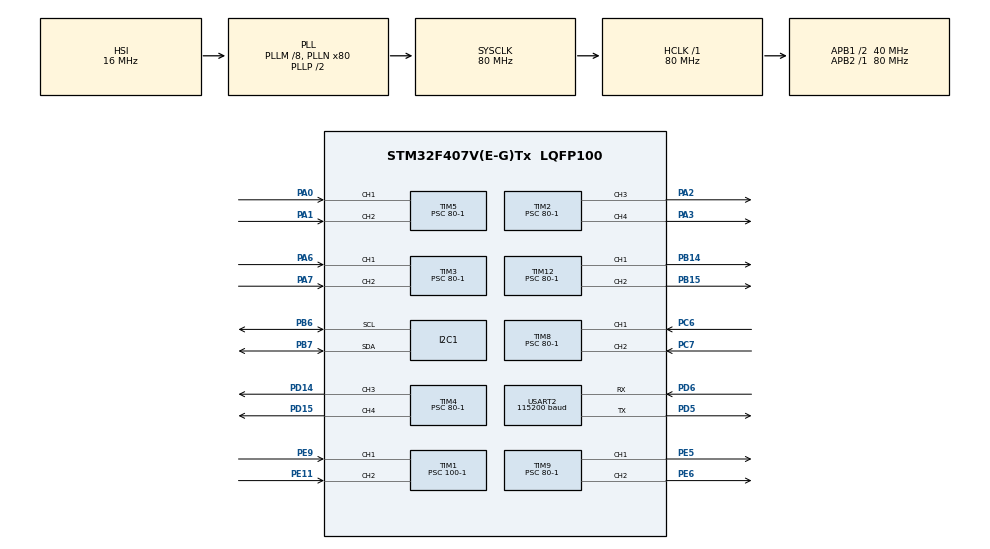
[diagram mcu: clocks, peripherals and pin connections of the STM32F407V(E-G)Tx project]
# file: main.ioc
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Mcu.Family=STM32F4
Mcu.Name=STM32F407V(E-G)Tx
Mcu.Package=LQFP100
NVIC.PriorityGroup=NVIC_PRIORITYGROUP_4
PA0-WKUP.Signal=S_TIM5_CH1
PA1.Signal=S_TIM5_CH2
PA2.Signal=S_TIM2_CH3
PA3.Signal=S_TIM2_CH4
PA6.Signal=S_TIM3_CH1
PA7.Signal=S_TIM3_CH2
PB14.GPIO_PuPd=GPIO_PULLUP
PB14.Signal=S_TIM12_CH1
PB15.GPIO_PuPd=GPIO_PULLUP
PB15.Signal=S_TIM12_CH2
PB6.Mode=I2C
PB6.Signal=I2C1_SCL
PB7.Mode=I2C
PB7.Signal=I2C1_SDA
PC6.Signal=S_TIM8_CH1
PC7.Signal=S_TIM8_CH2
PD14.Signal=S_TIM4_CH3
PD15.Signal=S_TIM4_CH4
PD5.Mode=Asynchronous
PD5.Signal=USART2_TX
PD6.Mode=Asynchronous
PD6.Signal=USART2_RX
PE11.GPIO_PuPd=GPIO_PULLUP
PE11.Signal=S_TIM1_CH2
PE5.Signal=S_TIM9_CH1
PE6.Signal=S_TIM9_CH2
PE9.GPIO_PuPd=GPIO_PULLUP
PE9.Signal=S_TIM1_CH1
ProjectManager.HeapSize=0x200
ProjectManager.StackSize=0x400
ProjectManager.TargetToolchain=STM32CubeIDE
RCC.48MHZClocksFreq_Value=40000000
RCC.AHBFreq_Value=80000000
RCC.APB1CLKDivider=RCC_HCLK_DIV2
RCC.APB1Freq_Value=40000000
RCC.APB1TimFreq_Value=80000000
RCC.APB2Freq_Value=80000000
RCC.APB2TimFreq_Value=80000000
RCC.CortexFreq_Value=80000000
RCC.HCLKFreq_Value=80000000
RCC.HSE_VALUE=25000000
RCC.HSI_VALUE=16000000
RCC.LSE_VALUE=32768
RCC.PLLM=8
RCC.PLLN=80
RCC.SYSCLKFreq_VALUE=80000000
RCC.SYSCLKSource=RCC_SYSCLKSOURCE_PLLCLK
RCC.VCOOutputFreq_Value=160000000
SH.S_TIM12_CH1.0=TIM12_CH1,PWM Generation1 CH1
SH.S_TIM12_CH2.0=TIM12_CH2,PWM Generation2 CH2
SH.S_TIM1_CH1.0=TIM1_CH1,Encoder_Interface
SH.S_TIM1_CH2.0=TIM1_CH2,Encoder_Interface
SH.S_TIM2_CH3.0=TIM2_CH3,PWM Generation3 CH3
SH.S_TIM2_CH4.0=TIM2_CH4,PWM Generation4 CH4
SH.S_TIM3_CH1.0=TIM3_CH1,Encoder_Interface
SH.S_TIM3_CH2.0=TIM3_CH2,Encoder_Interface
SH.S_TIM4_CH3.0=TIM4_CH3,PWM Generation3 CH3
SH.S_TIM4_CH4.0=TIM4_CH4,PWM Generation4 CH4
SH.S_TIM5_CH1.0=TIM5_CH1,Encoder_Interface
SH.S_TIM5_CH2.0=TIM5_CH2,Encoder_Interface
SH.S_TIM8_CH1.0=TIM8_CH1,Encoder_Interface
SH.S_TIM8_CH2.0=TIM8_CH2,Encoder_Interface
SH.S_TIM9_CH1.0=TIM9_CH1,PWM Generation1 CH1
SH.S_TIM9_CH2.0=TIM9_CH2,PWM Generation2 CH2
TIM1.EncoderMode=TIM_ENCODERMODE_TI12
TIM1.Prescaler=100-1
TIM12.Channel-PWM\ Generation1\ CH1=TIM_CHANNEL_1
TIM12.Channel-PWM\ Generation2\ CH2=TIM_CHANNEL_2
TIM12.Period=1000-1
TIM12.Prescaler=80-1
TIM2.Channel-PWM\ Generation3\ CH3=TIM_CHANNEL_3
TIM2.Channel-PWM\ Generation4\ CH4=TIM_CHANNEL_4
TIM2.Period=1000-1
TIM2.Prescaler=80-1
TIM3.EncoderMode=TIM_ENCODERMODE_TI12
TIM3.Prescaler=80-1
TIM4.Channel-PWM\ Generation3\ CH3=TIM_CHANNEL_3
TIM4.Channel-PWM\ Generation4\ CH4=TIM_CHANNEL_4
TIM4.Period=1000-1
TIM4.Prescaler=80-1
TIM5.EncoderMode=TIM_ENCODERMODE_TI12
TIM5.Period=65535
TIM5.Prescaler=80-1
TIM8.EncoderMode=TIM_ENCODERMODE_TI12
TIM8.Prescaler=80-1
TIM9.Channel-PWM\ Generation1\ CH1=TIM_CHANNEL_1
TIM9.Channel-PWM\ Generation2\ CH2=TIM_CHANNEL_2
TIM9.Period=1000-1
TIM9.Prescaler=80-1
USART2.BaudRate=115200
USART2.VirtualMode=VM_ASYNC
VP_TIM12_VS_ClockSourceINT.Mode=Internal
VP_TIM2_VS_ClockSourceINT.Mode=Internal
VP_TIM4_VS_ClockSourceINT.Mode=Internal
VP_TIM9_VS_ClockSourceINT.Mode=Internal
board=custom

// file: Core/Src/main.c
/* USER CODE BEGIN Header */
/**
 ******************************************************************************
 * @file           : main.c
 * @brief          : Main program body
 ******************************************************************************
 * @attention
 *
 * Copyright (c) 2024 STMicroelectronics.
 * All rights reserved.
 *
 * This software is licensed under terms that can be found in the LICENSE file
 * in the root directory of this software component.
 * If no LICENSE file comes with this software, it is provided AS-IS.
 *
 ******************************************************************************
 */
/* USER CODE END Header */
#include "main.h"

/* USER CODE BEGIN Includes */
#include <lib_UART.h>
#include <lib_MOTOR.h>
#include <lib_COMMAND.h>
#include <lib_DATA.h>
//#include <lib_MPU6050.h>

/* USER CODE END Includes */

I2C_HandleTypeDef hi2c1;

TIM_HandleTypeDef htim1;
TIM_HandleTypeDef htim2;
TIM_HandleTypeDef htim3;
TIM_HandleTypeDef htim4;
TIM_HandleTypeDef htim5;
TIM_HandleTypeDef htim8;
TIM_HandleTypeDef htim9;
TIM_HandleTypeDef htim12;

UART_HandleTypeDef huart2;

/* USER CODE BEGIN PV */

uint8_t c = '0';

/* USER CODE END PV */

void SystemClock_Config(void);
static void MX_GPIO_Init(void);
static void MX_TIM1_Init(void);
static void MX_TIM2_Init(void);
static void MX_TIM3_Init(void);
static void MX_TIM5_Init(void);
static void MX_TIM8_Init(void);
static void MX_TIM9_Init(void);
static void MX_TIM12_Init(void);
static void MX_TIM4_Init(void);
static void MX_USART2_UART_Init(void);
static void MX_I2C1_Init(void);

/* USER CODE BEGIN 0 */
char receivedString[100];

/* USER CODE END 0 */

int main(void) {

	/* MCU Configuration--------------------------------------------------------*/

	/* Reset of all peripherals, Initializes the Flash interface and the Systick. */
HAL_Init();

	/* Configure the system clock */
	SystemClock_Config();

	/* Initialize all configured peripherals */
	MX_GPIO_Init();
	MX_TIM1_Init();
	MX_TIM2_Init();
	MX_TIM3_Init();
	MX_TIM5_Init();
	MX_TIM8_Init();
	MX_TIM9_Init();
	MX_TIM12_Init();
	MX_TIM4_Init();
	MX_USART2_UART_Init();
	MX_I2C1_Init();
	/* USER CODE BEGIN 2 */
	Encoder_Init();  // Khởi động encoder
	Motor_Init();    // Khởi động Motor
	Reset_Encoder1();
	Reset_Encoder2();
	Reset_Encoder3();
	Reset_Encoder4();
	// Initialize BNO055

	BNO055_Init(&hi2c1);
	/* USER CODE END 2 */

	/* Infinite loop */
	while (1) {
	//	readEncoder();
		//standardMode(1);
		//HAL_Delay(500);
		motor();
	}
}

void SystemClock_Config(void) {
	RCC_OscInitTypeDef RCC_OscInitStruct = { 0 };
	RCC_ClkInitTypeDef RCC_ClkInitStruct = { 0 };

	/** Configure the main internal regulator output voltage
	 */
	__HAL_RCC_PWR_CLK_ENABLE();
	__HAL_PWR_VOLTAGESCALING_CONFIG(PWR_REGULATOR_VOLTAGE_SCALE1);

	/** Initializes the RCC Oscillators according to the specified parameters
	 * in the RCC_OscInitTypeDef structure.
	 */
	RCC_OscInitStruct.OscillatorType = RCC_OSCILLATORTYPE_HSI;
	RCC_OscInitStruct.HSIState = RCC_HSI_ON;
	RCC_OscInitStruct.HSICalibrationValue = RCC_HSICALIBRATION_DEFAULT;
	RCC_OscInitStruct.PLL.PLLState = RCC_PLL_ON;
	RCC_OscInitStruct.PLL.PLLSource = RCC_PLLSOURCE_HSI;
	RCC_OscInitStruct.PLL.PLLM = 8;
	RCC_OscInitStruct.PLL.PLLN = 80;
	RCC_OscInitStruct.PLL.PLLP = RCC_PLLP_DIV2;
	RCC_OscInitStruct.PLL.PLLQ = 4;
	if (HAL_RCC_OscConfig(&RCC_OscInitStruct) != HAL_OK) {
		Error_Handler();
	}

	/** Initializes the CPU, AHB and APB buses clocks
	 */
	RCC_ClkInitStruct.ClockType = RCC_CLOCKTYPE_HCLK | RCC_CLOCKTYPE_SYSCLK
			| RCC_CLOCKTYPE_PCLK1 | RCC_CLOCKTYPE_PCLK2;
	RCC_ClkInitStruct.SYSCLKSource = RCC_SYSCLKSOURCE_PLLCLK;
	RCC_ClkInitStruct.AHBCLKDivider = RCC_SYSCLK_DIV1;
	RCC_ClkInitStruct.APB1CLKDivider = RCC_HCLK_DIV2;
	RCC_ClkInitStruct.APB2CLKDivider = RCC_HCLK_DIV1;

	if (HAL_RCC_ClockConfig(&RCC_ClkInitStruct, FLASH_LATENCY_2) != HAL_OK) {
		Error_Handler();
	}
}

static void MX_I2C1_Init(void) {

	hi2c1.Instance = I2C1;
	hi2c1.Init.ClockSpeed = 100000;
	hi2c1.Init.DutyCycle = I2C_DUTYCYCLE_2;
	hi2c1.Init.OwnAddress1 = 0;
	hi2c1.Init.AddressingMode = I2C_ADDRESSINGMODE_7BIT;
	hi2c1.Init.DualAddressMode = I2C_DUALADDRESS_DISABLE;
	hi2c1.Init.OwnAddress2 = 0;
	hi2c1.Init.GeneralCallMode = I2C_GENERALCALL_DISABLE;
	hi2c1.Init.NoStretchMode = I2C_NOSTRETCH_DISABLE;
	if (HAL_I2C_Init(&hi2c1) != HAL_OK) {
		Error_Handler();
	}

}

static void MX_TIM1_Init(void) {

	TIM_Encoder_InitTypeDef sConfig = { 0 };
	TIM_MasterConfigTypeDef sMasterConfig = { 0 };

	htim1.Instance = TIM1;
	htim1.Init.Prescaler = 100 - 1;
	htim1.Init.CounterMode = TIM_COUNTERMODE_UP;
	htim1.Init.Period = 65535;
	htim1.Init.ClockDivision = TIM_CLOCKDIVISION_DIV1;
	htim1.Init.RepetitionCounter = 0;
	htim1.Init.AutoReloadPreload = TIM_AUTORELOAD_PRELOAD_DISABLE;
	sConfig.EncoderMode = TIM_ENCODERMODE_TI12;
	sConfig.IC1Polarity = TIM_ICPOLARITY_RISING;
	sConfig.IC1Selection = TIM_ICSELECTION_DIRECTTI;
	sConfig.IC1Prescaler = TIM_ICPSC_DIV1;
	sConfig.IC1Filter = 0;
	sConfig.IC2Polarity = TIM_ICPOLARITY_RISING;
	sConfig.IC2Selection = TIM_ICSELECTION_DIRECTTI;
	sConfig.IC2Prescaler = TIM_ICPSC_DIV1;
	sConfig.IC2Filter = 0;
	if (HAL_TIM_Encoder_Init(&htim1, &sConfig) != HAL_OK) {
		Error_Handler();
	}
	sMasterConfig.MasterOutputTrigger = TIM_TRGO_RESET;
	sMasterConfig.MasterSlaveMode = TIM_MASTERSLAVEMODE_DISABLE;
	if (HAL_TIMEx_MasterConfigSynchronization(&htim1, &sMasterConfig)
			!= HAL_OK) {
		Error_Handler();
	}

}

static void MX_TIM2_Init(void) {

	TIM_ClockConfigTypeDef sClockSourceConfig = { 0 };
	TIM_MasterConfigTypeDef sMasterConfig = { 0 };
	TIM_OC_InitTypeDef sConfigOC = { 0 };

	htim2.Instance = TIM2;
	htim2.Init.Prescaler = 80 - 1;
	htim2.Init.CounterMode = TIM_COUNTERMODE_UP;
	htim2.Init.Period = 1000 - 1;
	htim2.Init.ClockDivision = TIM_CLOCKDIVISION_DIV1;
	htim2.Init.AutoReloadPreload = TIM_AUTORELOAD_PRELOAD_DISABLE;
	if (HAL_TIM_Base_Init(&htim2) != HAL_OK) {
		Error_Handler();
	}
	sClockSourceConfig.ClockSource = TIM_CLOCKSOURCE_INTERNAL;
	if (HAL_TIM_ConfigClockSource(&htim2, &sClockSourceConfig) != HAL_OK) {
		Error_Handler();
	}
	if (HAL_TIM_PWM_Init(&htim2) != HAL_OK) {
		Error_Handler();
	}
	sMasterConfig.MasterOutputTrigger = TIM_TRGO_RESET;
	sMasterConfig.MasterSlaveMode = TIM_MASTERSLAVEMODE_DISABLE;
	if (HAL_TIMEx_MasterConfigSynchronization(&htim2, &sMasterConfig)
			!= HAL_OK) {
		Error_Handler();
	}
	sConfigOC.OCMode = TIM_OCMODE_PWM1;
	sConfigOC.Pulse = 0;
	sConfigOC.OCPolarity = TIM_OCPOLARITY_HIGH;
	sConfigOC.OCFastMode = TIM_OCFAST_DISABLE;
	if (HAL_TIM_PWM_ConfigChannel(&htim2, &sConfigOC, TIM_CHANNEL_3)
			!= HAL_OK) {
		Error_Handler();
	}
	if (HAL_TIM_PWM_ConfigChannel(&htim2, &sConfigOC, TIM_CHANNEL_4)
			!= HAL_OK) {
		Error_Handler();
	}
	HAL_TIM_MspPostInit(&htim2);

}

static void MX_TIM3_Init(void) {

	TIM_Encoder_InitTypeDef sConfig = { 0 };
	TIM_MasterConfigTypeDef sMasterConfig = { 0 };

	htim3.Instance = TIM3;
	htim3.Init.Prescaler = 80 - 1;
	htim3.Init.CounterMode = TIM_COUNTERMODE_UP;
	htim3.Init.Period = 65535;
	htim3.Init.ClockDivision = TIM_CLOCKDIVISION_DIV1;
	htim3.Init.AutoReloadPreload = TIM_AUTORELOAD_PRELOAD_DISABLE;
	sConfig.EncoderMode = TIM_ENCODERMODE_TI12;
	sConfig.IC1Polarity = TIM_ICPOLARITY_RISING;
	sConfig.IC1Selection = TIM_ICSELECTION_DIRECTTI;
	sConfig.IC1Prescaler = TIM_ICPSC_DIV1;
	sConfig.IC1Filter = 0;
	sConfig.IC2Polarity = TIM_ICPOLARITY_RISING;
	sConfig.IC2Selection = TIM_ICSELECTION_DIRECTTI;
	sConfig.IC2Prescaler = TIM_ICPSC_DIV1;
	sConfig.IC2Filter = 0;
	if (HAL_TIM_Encoder_Init(&htim3, &sConfig) != HAL_OK) {
		Error_Handler();
	}
	sMasterConfig.MasterOutputTrigger = TIM_TRGO_RESET;
	sMasterConfig.MasterSlaveMode = TIM_MASTERSLAVEMODE_DISABLE;
	if (HAL_TIMEx_MasterConfigSynchronization(&htim3, &sMasterConfig)
			!= HAL_OK) {
		Error_Handler();
	}

}

static void MX_TIM4_Init(void) {

	TIM_ClockConfigTypeDef sClockSourceConfig = { 0 };
	TIM_MasterConfigTypeDef sMasterConfig = { 0 };
	TIM_OC_InitTypeDef sConfigOC = { 0 };

	htim4.Instance = TIM4;
	htim4.Init.Prescaler = 80 - 1;
	htim4.Init.CounterMode = TIM_COUNTERMODE_UP;
	htim4.Init.Period = 1000 - 1;
	htim4.Init.ClockDivision = TIM_CLOCKDIVISION_DIV1;
	htim4.Init.AutoReloadPreload = TIM_AUTORELOAD_PRELOAD_DISABLE;
	if (HAL_TIM_Base_Init(&htim4) != HAL_OK) {
		Error_Handler();
	}
	sClockSourceConfig.ClockSource = TIM_CLOCKSOURCE_INTERNAL;
	if (HAL_TIM_ConfigClockSource(&htim4, &sClockSourceConfig) != HAL_OK) {
		Error_Handler();
	}
	if (HAL_TIM_PWM_Init(&htim4) != HAL_OK) {
		Error_Handler();
	}
	sMasterConfig.MasterOutputTrigger = TIM_TRGO_RESET;
	sMasterConfig.MasterSlaveMode = TIM_MASTERSLAVEMODE_DISABLE;
	if (HAL_TIMEx_MasterConfigSynchronization(&htim4, &sMasterConfig)
			!= HAL_OK) {
		Error_Handler();
	}
	sConfigOC.OCMode = TIM_OCMODE_PWM1;
	sConfigOC.Pulse = 0;
	sConfigOC.OCPolarity = TIM_OCPOLARITY_HIGH;
	sConfigOC.OCFastMode = TIM_OCFAST_DISABLE;
	if (HAL_TIM_PWM_ConfigChannel(&htim4, &sConfigOC, TIM_CHANNEL_3)
			!= HAL_OK) {
		Error_Handler();
	}
	if (HAL_TIM_PWM_ConfigChannel(&htim4, &sConfigOC, TIM_CHANNEL_4)
			!= HAL_OK) {
		Error_Handler();
	}
	HAL_TIM_MspPostInit(&htim4);

}

static void MX_TIM5_Init(void) {

	TIM_Encoder_InitTypeDef sConfig = { 0 };
	TIM_MasterConfigTypeDef sMasterConfig = { 0 };

	htim5.Instance = TIM5;
	htim5.Init.Prescaler = 80 - 1;
	htim5.Init.CounterMode = TIM_COUNTERMODE_UP;
	htim5.Init.Period = 65535;
	htim5.Init.ClockDivision = TIM_CLOCKDIVISION_DIV1;
	htim5.Init.AutoReloadPreload = TIM_AUTORELOAD_PRELOAD_DISABLE;
	sConfig.EncoderMode = TIM_ENCODERMODE_TI12;
	sConfig.IC1Polarity = TIM_ICPOLARITY_RISING;
	sConfig.IC1Selection = TIM_ICSELECTION_DIRECTTI;
	sConfig.IC1Prescaler = TIM_ICPSC_DIV1;
	sConfig.IC1Filter = 0;
	sConfig.IC2Polarity = TIM_ICPOLARITY_RISING;
	sConfig.IC2Selection = TIM_ICSELECTION_DIRECTTI;
	sConfig.IC2Prescaler = TIM_ICPSC_DIV1;
	sConfig.IC2Filter = 0;
	if (HAL_TIM_Encoder_Init(&htim5, &sConfig) != HAL_OK) {
		Error_Handler();
	}
	sMasterConfig.MasterOutputTrigger = TIM_TRGO_RESET;
	sMasterConfig.MasterSlaveMode = TIM_MASTERSLAVEMODE_DISABLE;
	if (HAL_TIMEx_MasterConfigSynchronization(&htim5, &sMasterConfig)
			!= HAL_OK) {
		Error_Handler();
	}

}

static void MX_TIM8_Init(void) {

	TIM_Encoder_InitTypeDef sConfig = { 0 };
	TIM_MasterConfigTypeDef sMasterConfig = { 0 };

	htim8.Instance = TIM8;
	htim8.Init.Prescaler = 80 - 1;
	htim8.Init.CounterMode = TIM_COUNTERMODE_UP;
	htim8.Init.Period = 65535;
	htim8.Init.ClockDivision = TIM_CLOCKDIVISION_DIV1;
	htim8.Init.RepetitionCounter = 0;
	htim8.Init.AutoReloadPreload = TIM_AUTORELOAD_PRELOAD_DISABLE;
	sConfig.EncoderMode = TIM_ENCODERMODE_TI12;
	sConfig.IC1Polarity = TIM_ICPOLARITY_RISING;
	sConfig.IC1Selection = TIM_ICSELECTION_DIRECTTI;
	sConfig.IC1Prescaler = TIM_ICPSC_DIV1;
	sConfig.IC1Filter = 0;
	sConfig.IC2Polarity = TIM_ICPOLARITY_RISING;
	sConfig.IC2Selection = TIM_ICSELECTION_DIRECTTI;
	sConfig.IC2Prescaler = TIM_ICPSC_DIV1;
	sConfig.IC2Filter = 0;
	if (HAL_TIM_Encoder_Init(&htim8, &sConfig) != HAL_OK) {
		Error_Handler();
	}
	sMasterConfig.MasterOutputTrigger = TIM_TRGO_RESET;
	sMasterConfig.MasterSlaveMode = TIM_MASTERSLAVEMODE_DISABLE;
	if (HAL_TIMEx_MasterConfigSynchronization(&htim8, &sMasterConfig)
			!= HAL_OK) {
		Error_Handler();
	}

}

static void MX_TIM9_Init(void) {

	TIM_ClockConfigTypeDef sClockSourceConfig = { 0 };
	TIM_OC_InitTypeDef sConfigOC = { 0 };

	htim9.Instance = TIM9;
	htim9.Init.Prescaler = 80 - 1;
	htim9.Init.CounterMode = TIM_COUNTERMODE_UP;
	htim9.Init.Period = 1000 - 1;
	htim9.Init.ClockDivision = TIM_CLOCKDIVISION_DIV1;
	htim9.Init.AutoReloadPreload = TIM_AUTORELOAD_PRELOAD_DISABLE;
	if (HAL_TIM_Base_Init(&htim9) != HAL_OK) {
		Error_Handler();
	}
	sClockSourceConfig.ClockSource = TIM_CLOCKSOURCE_INTERNAL;
	if (HAL_TIM_ConfigClockSource(&htim9, &sClockSourceConfig) != HAL_OK) {
		Error_Handler();
	}
	if (HAL_TIM_PWM_Init(&htim9) != HAL_OK) {
		Error_Handler();
	}
	sConfigOC.OCMode = TIM_OCMODE_PWM1;
	sConfigOC.Pulse = 0;
	sConfigOC.OCPolarity = TIM_OCPOLARITY_HIGH;
	sConfigOC.OCFastMode = TIM_OCFAST_DISABLE;
	if (HAL_TIM_PWM_ConfigChannel(&htim9, &sConfigOC, TIM_CHANNEL_1)
			!= HAL_OK) {
		Error_Handler();
	}
	if (HAL_TIM_PWM_ConfigChannel(&htim9, &sConfigOC, TIM_CHANNEL_2)
			!= HAL_OK) {
		Error_Handler();
	}
	HAL_TIM_MspPostInit(&htim9);

}

static void MX_TIM12_Init(void) {

	TIM_ClockConfigTypeDef sClockSourceConfig = { 0 };
	TIM_OC_InitTypeDef sConfigOC = { 0 };

	htim12.Instance = TIM12;
	htim12.Init.Prescaler = 80 - 1;
	htim12.Init.CounterMode = TIM_COUNTERMODE_UP;
	htim12.Init.Period = 1000 - 1;
	htim12.Init.ClockDivision = TIM_CLOCKDIVISION_DIV1;
	htim12.Init.AutoReloadPreload = TIM_AUTORELOAD_PRELOAD_DISABLE;
	if (HAL_TIM_Base_Init(&htim12) != HAL_OK) {
		Error_Handler();
	}
	sClockSourceConfig.ClockSource = TIM_CLOCKSOURCE_INTERNAL;
	if (HAL_TIM_ConfigClockSource(&htim12, &sClockSourceConfig) != HAL_OK) {
		Error_Handler();
	}
	if (HAL_TIM_PWM_Init(&htim12) != HAL_OK) {
		Error_Handler();
	}
	sConfigOC.OCMode = TIM_OCMODE_PWM1;
	sConfigOC.Pulse = 0;
	sConfigOC.OCPolarity = TIM_OCPOLARITY_HIGH;
	sConfigOC.OCFastMode = TIM_OCFAST_DISABLE;
	if (HAL_TIM_PWM_ConfigChannel(&htim12, &sConfigOC, TIM_CHANNEL_1)
			!= HAL_OK) {
		Error_Handler();
	}
	if (HAL_TIM_PWM_ConfigChannel(&htim12, &sConfigOC, TIM_CHANNEL_2)
			!= HAL_OK) {
		Error_Handler();
	}
	HAL_TIM_MspPostInit(&htim12);

}

static void MX_USART2_UART_Init(void) {

	huart2.Instance = USART2;
	huart2.Init.BaudRate = 115200;
	huart2.Init.WordLength = UART_WORDLENGTH_8B;
	huart2.Init.StopBits = UART_STOPBITS_1;
	huart2.Init.Parity = UART_PARITY_NONE;
	huart2.Init.Mode = UART_MODE_TX_RX;
	huart2.Init.HwFlowCtl = UART_HWCONTROL_NONE;
	huart2.Init.OverSampling = UART_OVERSAMPLING_16;
	if (HAL_UART_Init(&huart2) != HAL_OK) {
		Error_Handler();
	}

}

static void MX_GPIO_Init(void) {

	/* GPIO Ports Clock Enable */
	__HAL_RCC_GPIOE_CLK_ENABLE();
	__HAL_RCC_GPIOA_CLK_ENABLE();
	__HAL_RCC_GPIOB_CLK_ENABLE();
	__HAL_RCC_GPIOD_CLK_ENABLE();
	__HAL_RCC_GPIOC_CLK_ENABLE();

}

/* USER CODE BEGIN 4 */
int _write(int file, char *ptr, int len) {

	int DataIdx;

	for (DataIdx = 0; DataIdx < len; DataIdx++) {
		ITM_SendChar(*ptr++);
	}
	return len;
}

/* USER CODE END 4 */

void Error_Handler(void) {
	__disable_irq();
	while (1) {
	}
}
